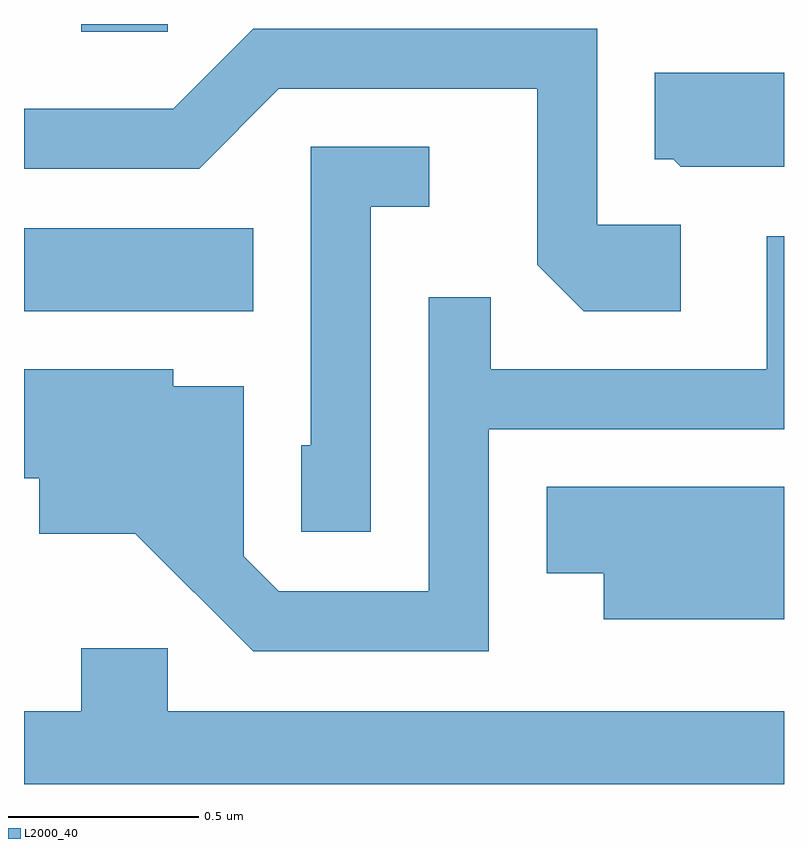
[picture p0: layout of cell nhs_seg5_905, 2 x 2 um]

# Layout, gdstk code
import gdstk
lib = gdstk.Library(unit=1e-6, precision=1e-09)
def R(c, l, rs):  # rectangles x0, y0, x1, y1
    for r in rs: c.add(gdstk.rectangle(r[:2], r[2:], *l))
def P(c, l, *ps):  # polygons
    for p in ps: c.add(gdstk.Polygon(p, *l))
L2000_40 = (2000, 40)

nhs_seg5_905 = lib.new_cell('nhs_seg5_905')
R(nhs_seg5_905, L2000_40, [(191.611,1480.316,192.214,1480.534), (191.761,1481.051,191.989,1481.072)])
P(nhs_seg5_905, L2000_40, [(193.339,1480.544),(193.119,1480.544),(193.119,1481.059),(192.214,1481.059),(192.004,1480.849),(191.611,1480.849),(191.611,1480.691),(192.072,1480.691),(192.282,1480.901),(192.961,1480.901),(192.961,1480.439),(193.084,1480.316),(193.339,1480.316)],
  [(193.611,1480.944),(193.271,1480.944),(193.271,1480.716),(193.319,1480.716),(193.339,1480.696),(193.611,1480.696)],
  [(192.524,1480.591),(192.678,1480.591),(192.678,1480.749),(192.366,1480.749),(192.366,1479.964),(192.341,1479.964),(192.341,1479.736),(192.524,1479.736)],
  [(192.834,1480.006),(193.611,1480.006),(193.611,1480.513),(193.566,1480.513),(193.566,1480.164),(192.839,1480.164),(192.839,1480.353),(192.676,1480.353),(192.676,1479.579),(192.282,1479.579),(192.189,1479.672),(192.189,1480.119),(192.004,1480.119),(192.004,1480.164),(191.611,1480.164),(191.611,1479.876),(191.651,1479.876),(191.651,1479.731),(191.904,1479.731),(192.214,1479.421),(192.834,1479.421)],
  [(193.611,1479.854),(192.986,1479.854),(192.986,1479.626),(193.136,1479.626),(193.136,1479.506),(193.611,1479.506)],
  [(193.611,1479.264),(191.989,1479.264),(191.989,1479.429),(191.761,1479.429),(191.761,1479.264),(191.611,1479.264),(191.611,1479.072),(193.611,1479.072)])

lib.write_gds('nhs_seg5_905.gds')
